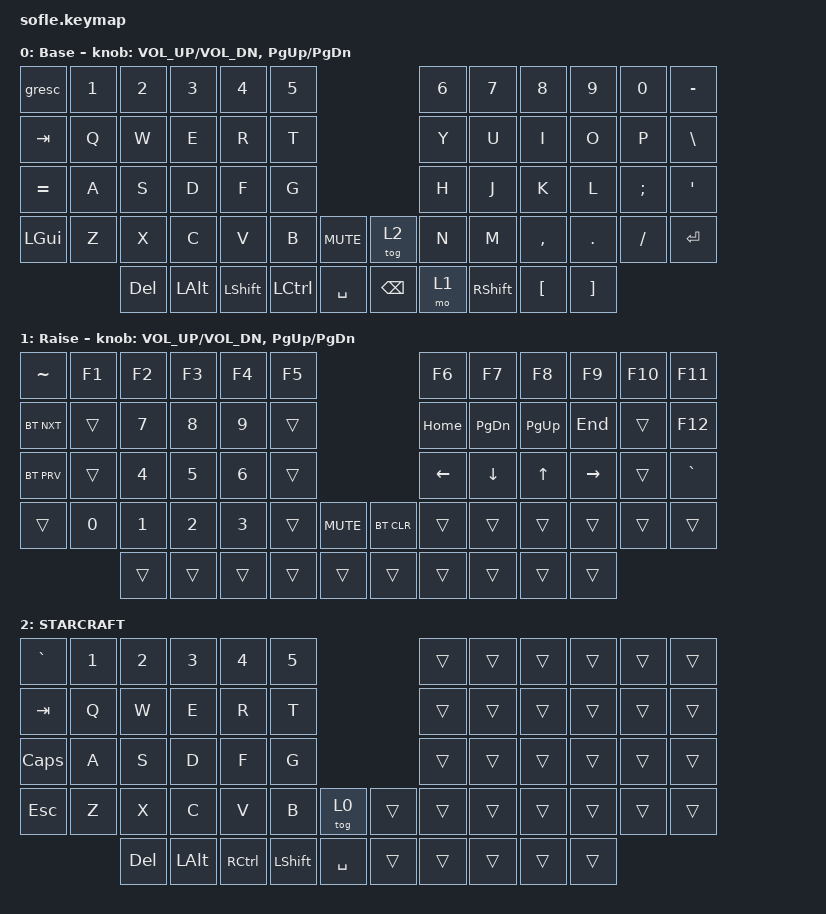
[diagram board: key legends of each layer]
/*
 * Copyright (c) 2020 The ZMK Contributors
 *
 * SPDX-License-Identifier: MIT
 */

#include <behaviors.dtsi>
#include <dt-bindings/zmk/bt.h>
#include <dt-bindings/zmk/keys.h>

#define BASE 0
#define RAISE 1
#define STARCRAFT 2

/ {
    // Activate ADJUST layer by pressing raise and lower

    conditional_layers { compatible = "zmk,conditional-layers"; };

    keymap {
        compatible = "zmk,keymap";

        default_layer {
            display-name = "Base";
            bindings = <
&gresc        &kp N1      &kp N2          &kp N3       &kp N4       &kp N5                                  &kp N6  &kp N7       &kp N8       &kp N9      &kp N0         &kp MINUS
&kp TAB       &kp Q       &kp W           &kp E        &kp R        &kp T                                   &kp Y   &kp U        &kp I        &kp O       &kp P          &kp BSLH
&kp EQUAL     &kp A       &kp S           &kp D        &kp F        &kp G                                   &kp H   &kp J        &kp K        &kp L       &kp SEMI       &kp SQT
&kp LEFT_GUI  &kp Z       &kp X           &kp C        &kp V        &kp B      &kp C_MUTE    &tog 2         &kp N   &kp M        &kp COMMA    &kp DOT     &kp FSLH       &kp ENTER
                          &kp DELETE      &kp LALT     &kp LSHFT    &kp LCTRL  &kp SPACE     &kp BACKSPACE  &mo 1   &kp RSHFT    &kp LBKT     &kp RBKT
            >;

            sensor-bindings =
                <&inc_dec_kp C_VOL_UP C_VOL_DN>,
                <&inc_dec_kp PAGE_UP PAGE_DOWN>;
        };

        raise_layer {
            display-name = "Raise";
            bindings = <
&kp TILDE   &kp F1  &kp F2        &kp F3        &kp F4        &kp F5                            &kp F6          &kp F7          &kp F8        &kp F9           &kp F10  &kp F11
&bt BT_NXT  &trans  &kp N7        &kp N8        &kp N9        &trans                            &kp HOME        &kp PAGE_DOWN   &kp PG_UP     &kp END          &trans   &kp F12
&bt BT_PRV  &trans  &kp N4        &kp N5        &kp N6        &trans                            &kp LEFT_ARROW  &kp DOWN_ARROW  &kp UP_ARROW  &kp RIGHT_ARROW  &trans   &kp GRAVE
&trans      &kp N0  &kp N1        &kp N2        &kp N3        &trans  &kp K_MUTE    &bt BT_CLR  &trans          &trans          &trans        &trans           &trans   &trans
                    &trans        &trans        &trans        &trans  &trans        &trans      &trans          &trans          &trans        &trans
            >;

            sensor-bindings = <&inc_dec_kp C_VOL_UP C_VOL_DN &inc_dec_kp PG_UP PG_DN>;
        };

        starcraft {
            display-name = "STARCRAFT";
            bindings = <
&kp GRAVE   &kp N1  &kp N2      &kp N3    &kp N4     &kp N5                          &trans  &trans  &trans  &trans  &trans  &trans
&kp TAB     &kp Q   &kp W       &kp E     &kp R      &kp T                           &trans  &trans  &trans  &trans  &trans  &trans
&kp CAPS    &kp A   &kp S       &kp D     &kp F      &kp G                           &trans  &trans  &trans  &trans  &trans  &trans
&kp ESCAPE  &kp Z   &kp X       &kp C     &kp V      &kp B      &tog 0       &trans  &trans  &trans  &trans  &trans  &trans  &trans
                    &kp DELETE  &kp LALT  &kp RCTRL  &kp LSHFT  &kp SPACE    &trans  &trans  &trans  &trans  &trans
            >;
        };
    };
};
